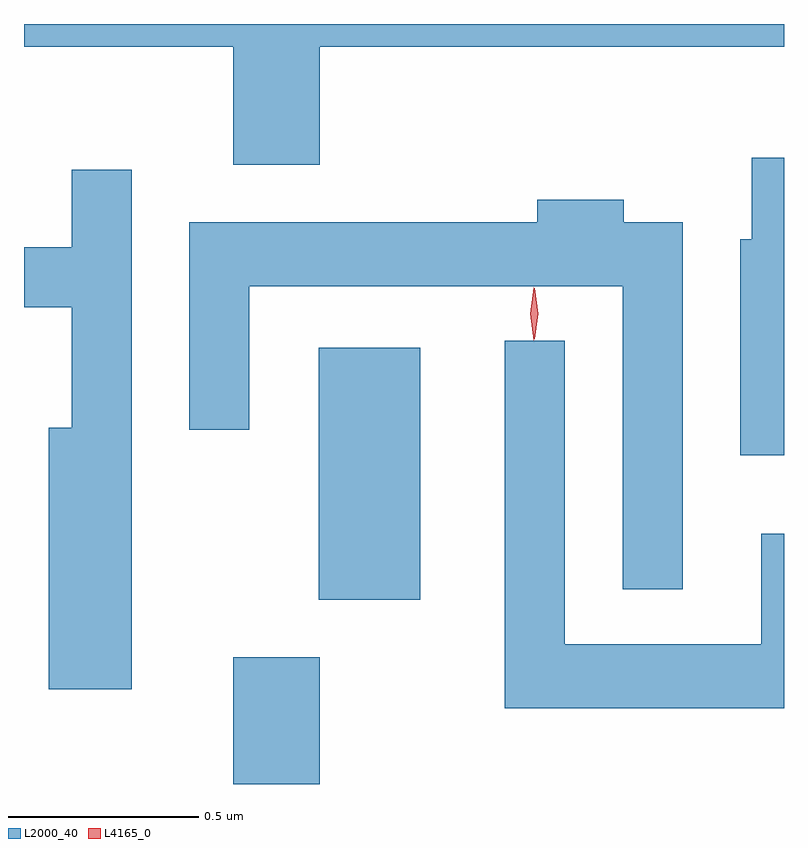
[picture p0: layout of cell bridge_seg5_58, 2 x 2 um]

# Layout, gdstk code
import gdstk
lib = gdstk.Library(unit=1e-6, precision=1e-09)
def R(c, l, rs):  # rectangles x0, y0, x1, y1
    for r in rs: c.add(gdstk.rectangle(r[:2], r[2:], *l))
def P(c, l, *ps):  # polygons
    for p in ps: c.add(gdstk.Polygon(p, *l))
L2000_40 = (2000, 40)
L4165_0 = (4165, 0)

bridge_seg5_58 = lib.new_cell('bridge_seg5_58')
R(bridge_seg5_58, L2000_40, [(1325.781,1465.956,1326.009,1466.289), (1326.006,1466.441,1326.274,1467.104)])
P(bridge_seg5_58, L2000_40, [(1326.009,1467.896),(1327.231,1467.896),(1327.231,1467.956),(1325.231,1467.956),(1325.231,1467.896),(1325.781,1467.896),(1325.781,1467.586),(1326.009,1467.586)],
  [(1327.231,1467.604),(1327.146,1467.604),(1327.146,1467.389),(1327.116,1467.389),(1327.116,1466.821),(1327.231,1466.821)],
  [(1325.514,1467.573),(1325.356,1467.573),(1325.356,1467.369),(1325.231,1467.369),(1325.231,1467.211),(1325.356,1467.211),(1325.356,1466.894),(1325.296,1466.894),(1325.296,1466.206),(1325.514,1466.206)],
  [(1326.964,1467.434),(1326.809,1467.434),(1326.809,1467.494),(1326.581,1467.494),(1326.581,1467.434),(1325.666,1467.434),(1325.666,1466.888),(1325.824,1466.888),(1325.824,1467.266),(1326.806,1467.266),(1326.806,1466.468),(1326.964,1466.468)],
  [(1327.231,1466.614),(1327.171,1466.614),(1327.171,1466.324),(1326.654,1466.324),(1326.654,1467.123),(1326.496,1467.123),(1326.496,1466.156),(1327.231,1466.156)])
P(bridge_seg5_58, L4165_0, [(1326.573,1467.123),(1326.572,1467.124),(1326.563,1467.193),(1326.572,1467.262),(1326.573,1467.263),(1326.573,1467.262),(1326.583,1467.193),(1326.573,1467.124)],
  [(1326.574,1467.127),(1326.574,1467.128),(1326.564,1467.194),(1326.574,1467.26),(1326.574,1467.26),(1326.575,1467.26),(1326.584,1467.194),(1326.575,1467.128)])

lib.write_gds('bridge_seg5_58.gds')
